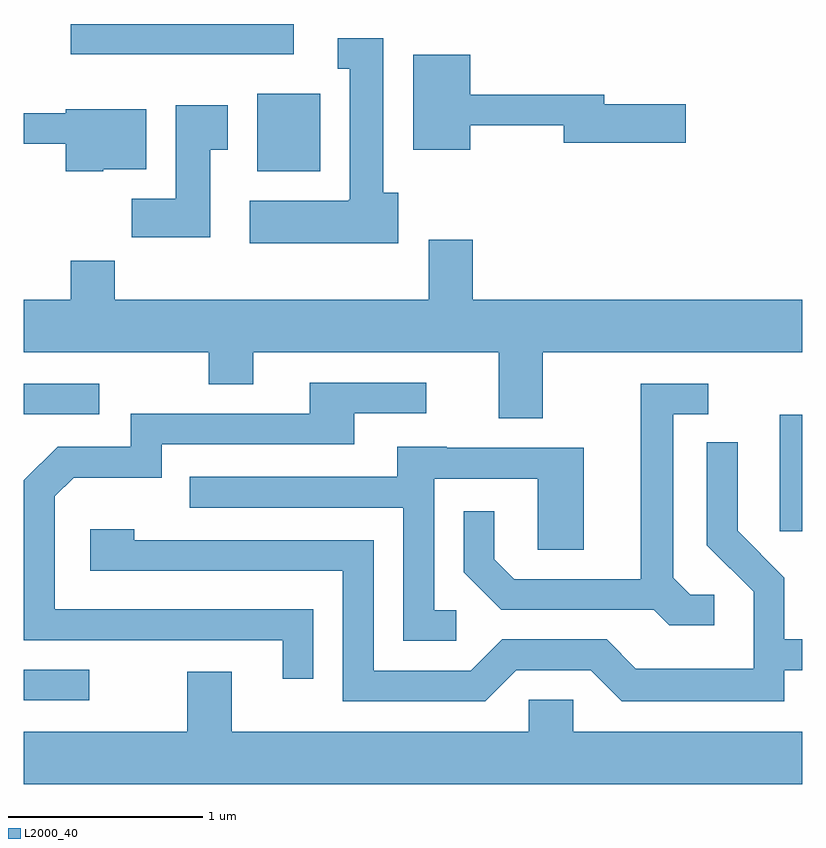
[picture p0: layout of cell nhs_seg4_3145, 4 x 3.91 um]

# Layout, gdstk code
import gdstk
lib = gdstk.Library(unit=1e-6, precision=1e-09)
def R(c, l, rs):  # rectangles x0, y0, x1, y1
    for r in rs: c.add(gdstk.rectangle(r[:2], r[2:], *l))
def P(c, l, *ps):  # polygons
    for p in ps: c.add(gdstk.Polygon(p, *l))
L2000_40 = (2000, 40)

nhs_seg4_3145 = lib.new_cell('nhs_seg4_3145')
R(nhs_seg4_3145, L2000_40, [(277.611,1288.506,277.948,1288.664), (281.496,1289.376,281.611,1289.974), (277.611,1289.976,277.998,1290.134), (278.811,1291.226,279.134,1291.624), (277.851,1291.826,278.999,1291.982)])
P(nhs_seg4_3145, L2000_40, [(279.534,1291.114),(279.459,1291.114),(279.459,1291.909),(279.223,1291.909),(279.223,1291.751),(279.286,1291.751),(279.286,1291.08),(279.28,1291.08),(279.28,1291.074),(278.771,1291.074),(278.771,1290.856),(279.534,1290.856)],
  [(279.904,1291.461),(280.386,1291.461),(280.386,1291.371),(281.014,1291.371),(281.014,1291.569),(280.594,1291.569),(280.594,1291.619),(279.904,1291.619),(279.904,1291.824),(279.611,1291.824),(279.611,1291.336),(279.904,1291.336)],
  [(278.569,1291.336),(278.659,1291.336),(278.659,1291.564),(278.391,1291.564),(278.391,1291.084),(278.166,1291.084),(278.166,1290.886),(278.569,1290.886)],
  [(278.02,1291.236),(278.239,1291.236),(278.239,1291.544),(277.826,1291.544),(277.826,1291.524),(277.611,1291.524),(277.611,1291.366),(277.826,1291.366),(277.826,1291.226),(278.02,1291.226)],
  [(280.279,1290.296),(281.611,1290.296),(281.611,1290.564),(279.919,1290.564),(279.919,1290.874),(279.691,1290.874),(279.691,1290.564),(278.079,1290.564),(278.079,1290.764),(277.851,1290.764),(277.851,1290.564),(277.611,1290.564),(277.611,1290.296),(278.561,1290.296),(278.561,1290.131),(278.789,1290.131),(278.789,1290.296),(280.051,1290.296),(280.051,1289.956),(280.279,1289.956)],
  [(279.099,1288.974),(277.769,1288.974),(277.769,1289.554),(277.867,1289.651),(278.319,1289.651),(278.319,1289.821),(279.309,1289.821),(279.309,1289.981),(279.678,1289.981),(279.678,1290.139),(279.081,1290.139),(279.081,1289.979),(278.161,1289.979),(278.161,1289.809),(277.784,1289.809),(277.611,1289.637),(277.611,1288.816),(278.941,1288.816),(278.941,1288.618),(279.099,1288.618)],
  [(281.158,1289.049),(281.037,1289.049),(280.949,1289.137),(280.949,1289.976),(281.128,1289.976),(281.128,1290.134),(280.781,1290.134),(280.781,1289.129),(280.132,1289.129),(280.029,1289.232),(280.029,1289.478),(279.871,1289.478),(279.871,1289.164),(280.064,1288.971),(280.849,1288.971),(280.929,1288.891),(281.158,1288.891)],
  [(280.142,1288.661),(280.524,1288.661),(280.684,1288.501),(281.519,1288.501),(281.519,1288.661),(281.611,1288.661),(281.611,1288.819),(281.519,1288.819),(281.519,1289.137),(281.279,1289.377),(281.279,1289.833),(281.121,1289.833),(281.121,1289.304),(281.361,1289.064),(281.361,1288.669),(280.757,1288.669),(280.607,1288.819),(280.069,1288.819),(279.909,1288.659),(279.409,1288.659),(279.409,1289.329),(278.179,1289.329),(278.179,1289.384),(277.951,1289.384),(277.951,1289.171),(279.251,1289.171),(279.251,1288.501),(279.982,1288.501)],
  [(279.833,1288.969),(279.719,1288.969),(279.719,1289.646),(280.251,1289.646),(280.251,1289.281),(280.489,1289.281),(280.489,1289.804),(279.785,1289.804),(279.785,1289.809),(279.531,1289.809),(279.531,1289.654),(278.463,1289.654),(278.463,1289.496),(279.561,1289.496),(279.561,1288.811),(279.833,1288.811)],
  [(281.611,1288.344),(280.434,1288.344),(280.434,1288.509),(280.206,1288.509),(280.206,1288.344),(278.679,1288.344),(278.679,1288.654),(278.451,1288.654),(278.451,1288.344),(277.611,1288.344),(277.611,1288.076),(281.611,1288.076)])

lib.write_gds('nhs_seg4_3145.gds')
